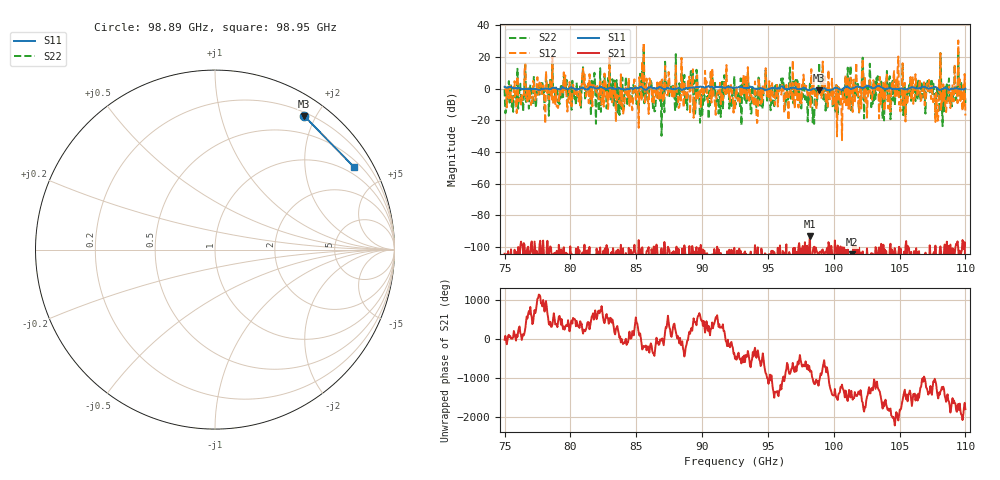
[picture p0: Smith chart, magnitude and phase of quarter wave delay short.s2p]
!Created with skrf (http://scikit-rf.org).
# GHz S RI R 50.0
!freq ReS11 ImS11 ReS21 ImS21 ReS12 ImS12 ReS22 ImS22
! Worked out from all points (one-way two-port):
!   647 points, 75 GHz to 110 GHz, reference 50 ohm
!   highest |S21| = -93.09 dB at 98.19 GHz (marker M1); lowest = -127.1 dB at 101.4 GHz (marker M2)
!   lowest |S11| = -1.0 dB at 98.89 GHz (marker M3), VSWR 18.09, Z = 12.3 + j92.3 ohm
!   |S11| at or under -10 dB: nowhere
!   |S22| runs from -29.7 to 26.6 dB; largest |S21 - S12| = 34
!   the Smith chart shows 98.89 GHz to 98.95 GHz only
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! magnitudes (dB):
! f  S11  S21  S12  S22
! 75 GHz  1.2  -104.3  0.1  -0.3
! 80.85 GHz  0.6  -107.4  1.8  1.6
! 83.72 GHz  0.4  -105.4  -9.3  -16.6
! 85.24 GHz  0.8  -105.3  7.4  1.7
! 85.4 GHz  1.1  -108.3  -7.8  -6.9
! 86.7 GHz  0.9  -107.9  -6.4  -3.0
! 89.14 GHz  0.7  -104.5  2.3  11.1
! 89.9 GHz  1.4  -98.7  -11.5  -15.0
! 90.82 GHz  1.0  -107.3  6.2  3.2
! 91.25 GHz  1.0  -101.5  -1.8  -15.7
! 92.5 GHz  0.6  -106.8  -13.8  -8.6
! 95.32 GHz  0.2  -103.1  3.5  0.9
! 96.08 GHz  1.6  -115.3  2.4  2.1
! 98.19 GHz  -0.8  -93.1  -4.5  4.3
! 98.35 GHz  -0.4  -106.6  -2.4  -6.0
! 98.89 GHz  -1.0  -103.5  1.3  16.4
! 101.4 GHz  0.0  -127.1  -5.5  -7.6
! 104.2 GHz  0.2  -111.2  0.3  5.5
! 104.7 GHz  -0.2  -106.1  6.6  0.1
! 107.8 GHz  1.0  -106.0  -2.9  -2.5
! 109.3 GHz  0.1  -98.3  -0.2  0.9
! 110 GHz  0.1  -120.9  -16.9  -9.0
